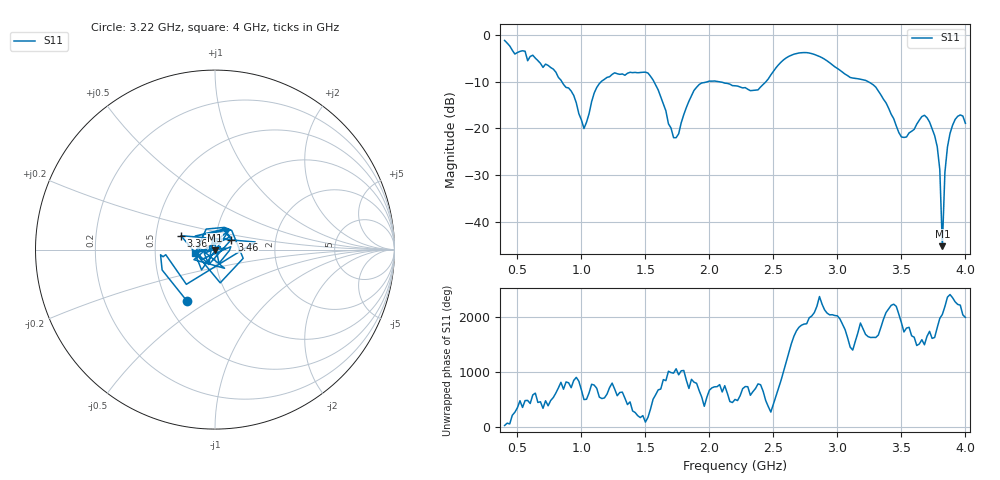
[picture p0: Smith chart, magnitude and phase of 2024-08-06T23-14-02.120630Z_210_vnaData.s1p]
!Created with skrf (http://scikit-rf.org).
# Hz S RI R 50.0
!freq ReS11 ImS11
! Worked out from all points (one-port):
!   181 points, 400 MHz to 4 GHz, reference 50 ohm
!   lowest |S11| = -45.2 dB at 3.82 GHz (marker M1), VSWR 1.01, Z = 49.8 - j0.492 ohm
!   |S11| at or under -10 dB: 1.567 GHz to 1.988 GHz (421.2 MHz wide, 23.7 % of centre); 2.068 GHz to 2.442 GHz (374.2 MHz wide, 16.6 % of centre); 3.239 GHz to end of sweep (the widest 3 of 4)
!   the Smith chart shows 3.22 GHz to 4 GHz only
!   S11 on the Smith chart (normalised r, x): 3.22 GHz: 0.63, -0.40; 3.36 GHz: 0.67, +0.11; 3.46 GHz: 1.19, +0.13; 4 GHz: 0.80, -0.03
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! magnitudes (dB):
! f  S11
! 400 MHz  -1.2
! 860 MHz  -10.6
! 940 MHz  -13.0
! 1.02 GHz  -20.0
! 1.12 GHz  -11.2
! 1.3 GHz  -8.4
! 1.52 GHz  -8.2
! 1.6 GHz  -11.8
! 1.72 GHz  -22.0
! 1.76 GHz  -21.2
! 1.92 GHz  -10.6
! 2.2 GHz  -10.9
! 2.38 GHz  -11.8
! 2.66 GHz  -4.1
! 2.84 GHz  -4.4
! 3.1 GHz  -9.1
! 3.22 GHz  -9.7
! 3.36 GHz  -13.8
! 3.46 GHz  -19.5
! 3.56 GHz  -21.0
! 3.68 GHz  -17.2
! 3.76 GHz  -21.6
! 3.8 GHz  -28.8
! 3.82 GHz  -45.2
! 3.84 GHz  -29.4
! 3.86 GHz  -24.0
! 3.92 GHz  -18.1
! 4 GHz  -18.9
